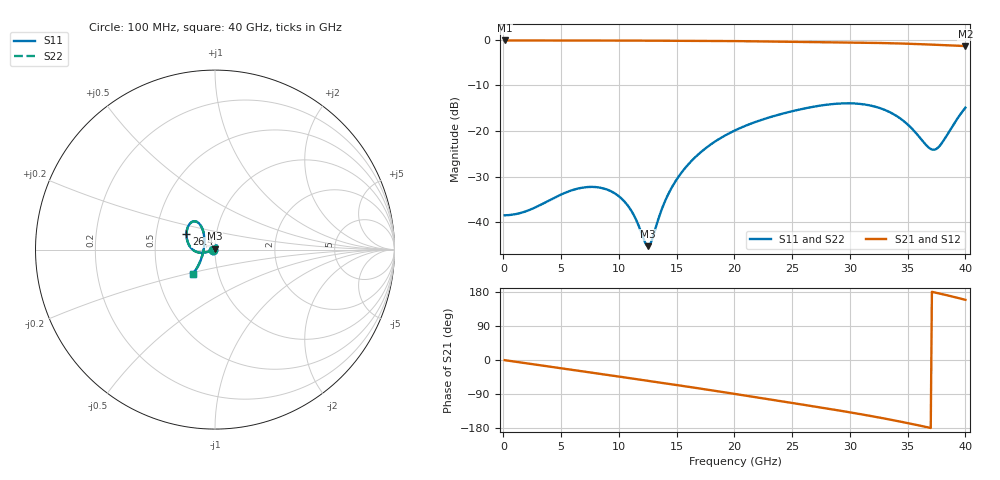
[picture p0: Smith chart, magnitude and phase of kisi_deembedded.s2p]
! C_s8_ap1000: kisi-fdtd, de-embedded with the 2×thru
# Hz S RI R 50
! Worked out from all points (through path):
!   400 points, 100 MHz to 40 GHz, reference 50 ohm
!   highest |S21| = -0.12 dB at 100 MHz (marker M1); lowest = -1.4 dB at 40 GHz (marker M2)
!   group delay of S21, straight-line fit = 13.5 ps
!   lowest |S11| = -45.3 dB at 12.5 GHz (marker M3), VSWR 1.01, Z = 49.7 + j0.468 ohm
!   |S11| at or under -10 dB: start of sweep to end of sweep
!   |S22| runs from -45.3 to -13.9 dB; largest |S21 - S12| = 5e-07
!   S11 on the Smith chart (normalised r, x): 100 MHz: 0.98, +0.00; 26.4 GHz: 0.72, +0.13; 40 GHz: 0.76, -0.21
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1e8  -0.0119 0.00044  0.9862 -0.00748  0.9862 -0.00748  -0.0119 0.00044
2e9  -0.00985 0.00884  0.9744 -0.1488  0.9744 -0.1488  -0.00985 0.00884
6.8e9  0.00804 0.0225  0.8575 -0.4864  0.8575 -0.4864  0.00804 0.0225
8.7e9  0.0118 0.0202  0.7767 -0.6062  0.7767 -0.6062  0.0118 0.0202
1.02e10  0.00988 0.0154  0.7002 -0.6912  0.7002 -0.6912  0.00988 0.0154
1.12e10  0.00581 0.0111  0.6439 -0.7424  0.6439 -0.7424  0.00581 0.0111
1.25e10  -0.00276 0.0047  0.5652 -0.8023  0.5652 -0.8023  -0.00276 0.0047
1.28e10  -0.00523 0.00314  0.5462 -0.815  0.5462 -0.815  -0.00523 0.00314
1.34e10  -0.0107 -1.15e-05  0.5072 -0.8391  0.5072 -0.8391  -0.0107 -1.15e-05
1.45e10  -0.0223 -0.00574  0.4326 -0.8789  0.4326 -0.8789  -0.0223 -0.00574
1.59e10  -0.0398 -0.0123  0.3321 -0.9202  0.3321 -0.9202  -0.0398 -0.0123
1.78e10  -0.0668 -0.0175  0.1869 -0.9577  0.1869 -0.9577  -0.0668 -0.0175
2.01e10  -0.1015 -0.0132  0.00288 -0.9705  0.00288 -0.9705  -0.1015 -0.0132
2.64e10  -0.1589 0.0853  -0.4754 -0.8183  -0.4754 -0.8183  -0.1589 0.0853
2.67e10  -0.1586 0.0919  -0.4955 -0.805  -0.4955 -0.805  -0.1586 0.0919
3.05e10  -0.1272 0.1548  -0.7223 -0.5912  -0.7223 -0.5912  -0.1272 0.1548
3.34e10  -0.0832 0.1393  -0.8459 -0.3624  -0.8459 -0.3624  -0.0832 0.1393
3.48e10  -0.0667 0.1049  -0.8798 -0.2318  -0.8798 -0.2318  -0.0667 0.1049
3.67e10  -0.0594 0.0334  -0.8908 -0.0407  -0.8908 -0.0407  -0.0594 0.0334
3.73e10  -0.0622 0.00597  -0.8854 0.0218  -0.8854 0.0218  -0.0622 0.00597
3.79e10  -0.0681 -0.0232  -0.8753 0.085  -0.8753 0.085  -0.0681 -0.0232
4e10  -0.1216 -0.1334  -0.7968 0.3097  -0.7968 0.3097  -0.1216 -0.1334
